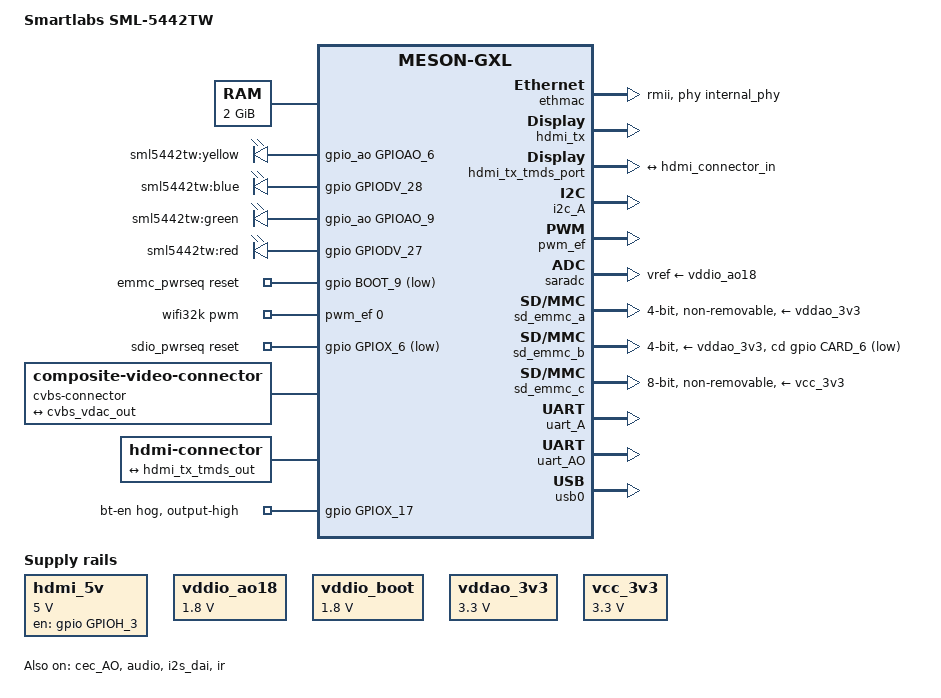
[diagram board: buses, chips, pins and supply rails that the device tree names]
// SPDX-License-Identifier: (GPL-2.0+ OR MIT)
/*
 * Copyright (c) 2016 Endless Computers, Inc.
 * Author: Carlo Caione <carlo@endlessm.com>
 * Copyright (c) 2018 BayLibre, SAS
 * Author: Neil Armstrong <narmstrong@baylibre.com>
 */

/dts-v1/;

#include "meson-gxl-s905d.dtsi"

/ {
	compatible = "smartlabs,sml5442tw", "amlogic,s905d", "amlogic,meson-gxl";
	model = "Smartlabs SML-5442TW";

	aliases {
		serial0 = &uart_AO;
		serial1 = &uart_A;
		ethernet0 = &ethmac;
	};

	chosen {
		stdout-path = "serial0:115200n8";
	};

	memory@0 {
		device_type = "memory";
		reg = <0x0 0x0 0x0 0x80000000>;
	};

	leds {
		compatible = "gpio-leds";

		yellow {
			label = "sml5442tw:yellow";
			gpios = <&gpio_ao GPIOAO_6 GPIO_ACTIVE_HIGH>;
			default-state = "off";
		};

		blue {
			label = "sml5442tw:blue";
			gpios = <&gpio GPIODV_28 GPIO_ACTIVE_HIGH>;
			default-state = "off";
		};

		green {
			label = "sml5442tw:green";
			gpios = <&gpio_ao GPIOAO_9 GPIO_ACTIVE_HIGH>;
			default-state = "on";
		};

		red {
			label = "sml5442tw:red";
			gpios = <&gpio GPIODV_27 GPIO_ACTIVE_HIGH>;
			default-state = "off";
		};
	};

	hdmi_5v: regulator-hdmi-5v {
		compatible = "regulator-fixed";

		regulator-name = "HDMI_5V";
		regulator-min-microvolt = <5000000>;
		regulator-max-microvolt = <5000000>;

		gpio = <&gpio GPIOH_3 GPIO_ACTIVE_HIGH>;
		enable-active-high;
		regulator-always-on;
	};

	vddio_ao18: regulator-vddio_ao18 {
		compatible = "regulator-fixed";
		regulator-name = "VDDIO_AO18";
		regulator-min-microvolt = <1800000>;
		regulator-max-microvolt = <1800000>;
	};

	vddio_boot: regulator-vddio_boot {
		compatible = "regulator-fixed";
		regulator-name = "VDDIO_BOOT";
		regulator-min-microvolt = <1800000>;
		regulator-max-microvolt = <1800000>;
	};

	vddao_3v3: regulator-vddao_3v3 {
		compatible = "regulator-fixed";
		regulator-name = "VDDAO_3V3";
		regulator-min-microvolt = <3300000>;
		regulator-max-microvolt = <3300000>;
	};

	vcc_3v3: regulator-vcc_3v3 {
		compatible = "regulator-fixed";
		regulator-name = "VCC_3V3";
		regulator-min-microvolt = <3300000>;
		regulator-max-microvolt = <3300000>;
	};

	emmc_pwrseq: emmc-pwrseq {
		compatible = "mmc-pwrseq-emmc";
		reset-gpios = <&gpio BOOT_9 GPIO_ACTIVE_LOW>;
	};

	wifi32k: wifi32k {
		compatible = "pwm-clock";
		#clock-cells = <0>;
		clock-frequency = <32768>;
		pwms = <&pwm_ef 0 30518 0>; /* PWM_E at 32.768KHz */
	};

	sdio_pwrseq: sdio-pwrseq {
		compatible = "mmc-pwrseq-simple";
		reset-gpios = <&gpio GPIOX_6 GPIO_ACTIVE_LOW>;
		clocks = <&wifi32k>;
		clock-names = "ext_clock";
	};

	cvbs-connector {
		compatible = "composite-video-connector";

		port {
			cvbs_connector_in: endpoint {
				remote-endpoint = <&cvbs_vdac_out>;
			};
		};
	};

	hdmi-connector {
		compatible = "hdmi-connector";
		type = "a";

		port {
			hdmi_connector_in: endpoint {
				remote-endpoint = <&hdmi_tx_tmds_out>;
			};
		};
	};

	sound {
		compatible = "simple-audio-card";
		simple-audio-card,name = "HDMI";

		simple-audio-card,dai-link@0 {
			/* HDMI Output */
			format = "i2s";
			mclk-fs = <128>;
			bitclock-master =  <&i2s_dai>;
			frame-master = <&i2s_dai>;
			plat {
				sound-dai = <&aiu_i2s_dma>;
			};

			cpu {
				sound-dai = <&i2s_dai>;
			};

			codec {
				sound-dai = <&hdmi_tx>;
			};
		};
	};
};

&cec_AO {
	status = "okay";
	pinctrl-0 = <&ao_cec_pins>;
	pinctrl-names = "default";
	hdmi-phandle = <&hdmi_tx>;
};

&audio {
	status = "okay";
};

&aiu_i2s_dma {
	status = "okay";
};

&i2s_dai {
	status = "okay";
};

&cvbs_vdac_port {
	cvbs_vdac_out: endpoint {
		remote-endpoint = <&cvbs_connector_in>;
	};
};

&ethmac {
	status = "okay";
	phy-mode = "rmii";
	phy-handle = <&internal_phy>;
};

/* This will enable the bluetooth module */
&gpio {
	bt-en {
		gpio-hog;
		gpios = <GPIOX_17 GPIO_ACTIVE_HIGH>;
		output-high;
		line-name = "bt-en";
	};
};

&hdmi_tx {
	status = "okay";
	pinctrl-0 = <&hdmi_hpd_pins>, <&hdmi_i2c_pins>;
	pinctrl-names = "default";
	hdmi-supply = <&hdmi_5v>;
};

&hdmi_tx_tmds_port {
	hdmi_tx_tmds_out: endpoint {
		remote-endpoint = <&hdmi_connector_in>;
	};
};

&i2c_A {
	status = "okay";
	pinctrl-0 = <&i2c_a_pins>;
	pinctrl-names = "default";
};

&internal_phy {
	pinctrl-0 = <&eth_link_led_pins>, <&eth_act_led_pins>;
	pinctrl-names = "default";
};

&ir {
	status = "okay";
	pinctrl-0 = <&remote_input_ao_pins>;
	pinctrl-names = "default";
	linux,rc-map-name = "rc-o2cz-khamsin";
};

&pwm_ef {
	status = "okay";
	pinctrl-0 = <&pwm_e_pins>;
	pinctrl-names = "default";
	clocks = <&clkc CLKID_FCLK_DIV4>;
	clock-names = "clkin0";
};

&saradc {
	status = "okay";
	vref-supply = <&vddio_ao18>;
};

/* Wireless SDIO Module */
&sd_emmc_a {
	status = "okay";
	pinctrl-0 = <&sdio_pins>;
	pinctrl-1 = <&sdio_clk_gate_pins>;
	pinctrl-names = "default", "clk-gate";
	#address-cells = <1>;
	#size-cells = <0>;

	bus-width = <4>;
	cap-sd-highspeed;
	max-frequency = <100000000>;

	non-removable;
	disable-wp;

	mmc-pwrseq = <&sdio_pwrseq>;

	vmmc-supply = <&vddao_3v3>;
	vqmmc-supply = <&vddio_boot>;
};

/* SD card */
&sd_emmc_b {
	status = "okay";
	pinctrl-0 = <&sdcard_pins>;
	pinctrl-1 = <&sdcard_clk_gate_pins>;
	pinctrl-names = "default", "clk-gate";

	bus-width = <4>;
	cap-sd-highspeed;
	max-frequency = <100000000>;
	disable-wp;

	cd-gpios = <&gpio CARD_6 GPIO_ACTIVE_HIGH>;
	cd-inverted;

	vmmc-supply = <&vddao_3v3>;
	vqmmc-supply = <&vddio_boot>;
};

/* eMMC */
&sd_emmc_c {
	status = "okay";
	pinctrl-0 = <&emmc_pins>, <&emmc_ds_pins>;
	pinctrl-1 = <&emmc_clk_gate_pins>;
	pinctrl-names = "default", "clk-gate";

	bus-width = <8>;
	cap-mmc-highspeed;
	max-frequency = <100000000>;
	non-removable;
	disable-wp;
	mmc-ddr-1_8v;
	mmc-hs200-1_8v;

	mmc-pwrseq = <&emmc_pwrseq>;
	vmmc-supply = <&vcc_3v3>;
	vqmmc-supply = <&vddio_boot>;
};

/* This is connected to the Bluetooth module: */
&uart_A {
	status = "okay";
	pinctrl-0 = <&uart_a_pins>, <&uart_a_cts_rts_pins>;
	pinctrl-names = "default";
};

/* This UART is brought out to the debug header */
&uart_AO {
	status = "okay";
	pinctrl-0 = <&uart_ao_a_pins>;
	pinctrl-names = "default";
};

&usb0 {
	status = "okay";
};
